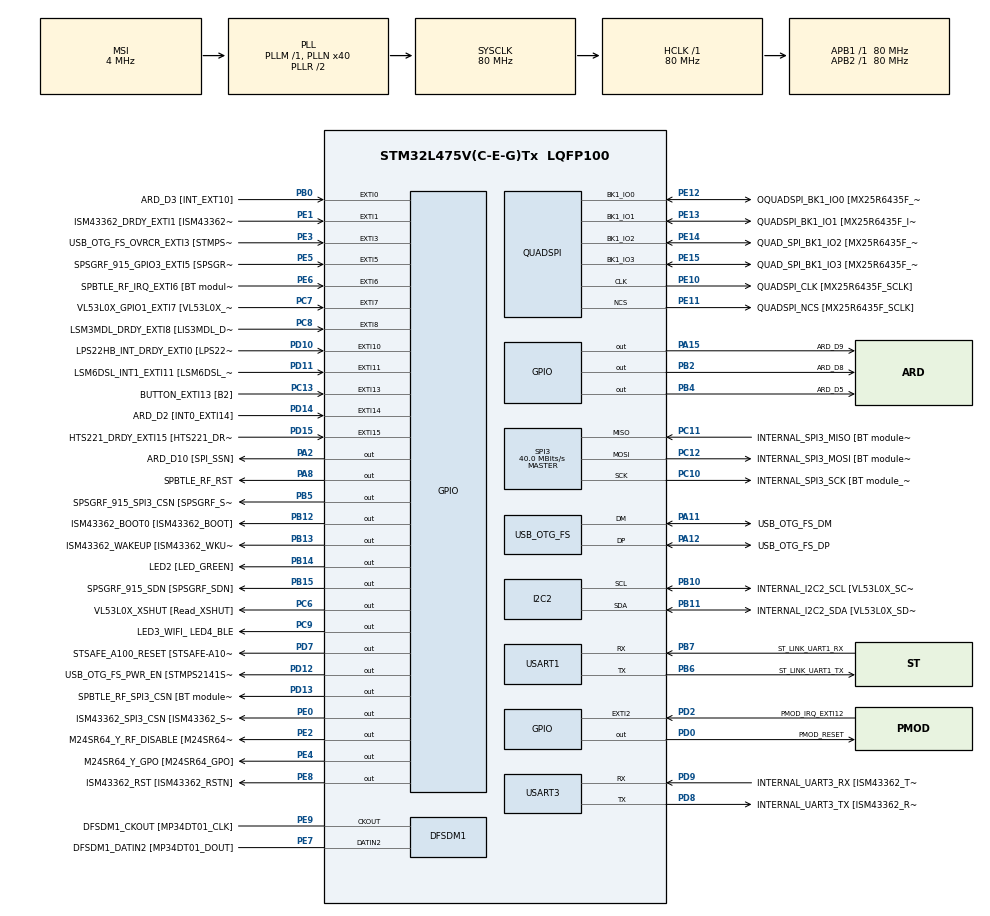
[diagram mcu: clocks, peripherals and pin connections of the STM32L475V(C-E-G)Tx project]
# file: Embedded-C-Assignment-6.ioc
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Mcu.Family=STM32L4
Mcu.Name=STM32L475V(C-E-G)Tx
Mcu.Package=LQFP100
NVIC.EXTI15_10_IRQn=true\:0\:0\:false\:false\:true\:true\:true\:true
NVIC.EXTI9_5_IRQn=true\:0\:0\:false\:false\:true\:true\:true\:true
NVIC.OTG_FS_IRQn=true\:0\:0\:false\:false\:true\:false\:true\:true
NVIC.PriorityGroup=NVIC_PRIORITYGROUP_4
PA0.GPIO_Label=ARD_D1 [UART4_TX]
PA0.Signal=UART4_TX
PA1.GPIO_Label=ARD_D0 [UART4_RX]
PA1.Signal=UART4_RX
PA10.GPIO_Label=USB_OTG_FS_ID
PA10.Signal=USB_OTG_FS_ID
PA11.GPIO_Label=USB_OTG_FS_DM
PA11.Mode=Device_Only
PA11.Signal=USB_OTG_FS_DM
PA12.GPIO_Label=USB_OTG_FS_DP
PA12.Mode=Device_Only
PA12.Signal=USB_OTG_FS_DP
PA13\ (JTMS-SWDIO).GPIO_Label=SYS_JTMS_SWDIO
PA13\ (JTMS-SWDIO).Mode=Serial_Wire
PA13\ (JTMS-SWDIO).Signal=SYS_JTMS-SWDIO
PA14\ (JTCK-SWCLK).GPIO_Label=SYS_JTCK_SWCLK
PA14\ (JTCK-SWCLK).Mode=Serial_Wire
PA14\ (JTCK-SWCLK).Signal=SYS_JTCK-SWCLK
PA15\ (JTDI).GPIO_Label=ARD_D9
PA15\ (JTDI).Signal=GPIO_Output
PA2.GPIO_Label=ARD_D10 [SPI_SSN]
PA2.Signal=GPIO_Output
PA3.GPIO_Label=ARD_D4
PA3.Signal=S_TIM2_CH4
PA4.GPIO_Label=ARD_D7
PA4.Signal=ADCx_IN9
PA5.GPIO_Label=ARD_D13 [SPI1_SCK]
PA5.Signal=SPI1_SCK
PA6.GPIO_Label=ARD_D12 [SPI1_MISO]
PA6.Signal=SPI1_MISO
PA7.GPIO_Label=ARD_D11 [SPI1_MOSI]
PA7.Signal=SPI1_MOSI
PA8.GPIO_Label=SPBTLE_RF_RST
PA8.Signal=GPIO_Output
PA9.GPIO_Label=USB_OTG_FS_VBUS [STMPS2141STR_OUT]
PA9.Signal=USB_OTG_FS_VBUS
PB0.GPIO_Label=ARD_D3 [INT_EXT10]
PB0.Signal=GPXTI0
PB1.GPIO_Label=ARD_D6 [ADC1_IN6]
PB1.Signal=ADCx_IN16
PB10.GPIO_Label=INTERNAL_I2C2_SCL [VL53L0X_SCL]
PB10.GPIO_Pu=GPIO_PULLUP
PB10.Mode=I2C
PB10.Signal=I2C2_SCL
PB11.GPIO_Label=INTERNAL_I2C2_SDA [VL53L0X_SDA]
PB11.GPIO_Pu=GPIO_PULLUP
PB11.Mode=I2C
PB11.Signal=I2C2_SDA
PB12.GPIO_Label=ISM43362_BOOT0 [ISM43362_BOOT]
PB12.Signal=GPIO_Output
PB13.GPIO_Label=ISM43362_WAKEUP [ISM43362_WKUP]
PB13.Signal=GPIO_Output
PB14.GPIO_Label=LED2 [LED_GREEN]
PB14.Signal=GPIO_Output
PB15.GPIO_Label=SPSGRF_915_SDN [SPSGRF_SDN]
PB15.Signal=GPIO_Output
PB2.GPIO_Label=ARD_D8
PB2.Signal=GPIO_Output
PB3\ (JTDO-TRACESWO).GPIO_Label=SYS_JTD0_SWO
PB3\ (JTDO-TRACESWO).Signal=SYS_JTDO-SWO
PB4\ (NJTRST).GPIO_Label=ARD_D5
PB4\ (NJTRST).Signal=GPIO_Output
PB5.GPIO_Label=SPSGRF_915_SPI3_CSN [SPSGRF_SPI_CS]
PB5.PinState=GPIO_PIN_SET
PB5.Signal=GPIO_Output
PB6.GPIO_Label=ST_LINK_UART1_TX
PB6.Mode=Asynchronous
PB6.Signal=USART1_TX
PB7.GPIO_Label=ST_LINK_UART1_RX
PB7.Mode=Asynchronous
PB7.Signal=USART1_RX
PB8.GPIO_Label=ARD_D15 [I2C1_SCL]
PB8.Signal=I2C1_SCL
PB9.GPIO_Label=ARD_D14 [I2C1_SDA]
PB9.Signal=I2C1_SDA
PC0.GPIO_Label=ARD_A5 [ADC]
PC0.Signal=ADCx_IN1
PC1.GPIO_Label=ARD_A4 [ADC]
PC1.Signal=ADCx_IN2
PC10.GPIO_Label=INTERNAL_SPI3_SCK [BT module_SPI_SCLK] [ISM43362_SCK]
PC10.Mode=Full_Duplex_Master
PC10.Signal=SPI3_SCK
PC11.GPIO_Label=INTERNAL_SPI3_MISO [BT module_SPI_MISO] [ISM43362_MISO]
PC11.Mode=Full_Duplex_Master
PC11.Signal=SPI3_MISO
PC12.GPIO_Label=INTERNAL_SPI3_MOSI [BT module_SPI_MOSI] [ISM43362_MOSI]
PC12.Mode=Full_Duplex_Master
PC12.Signal=SPI3_MOSI
PC13.GPIO_Label=BUTTON_EXTI13 [B2]
PC13.GPIO_ModeDefaultEXTI=GPIO_MODE_IT_FALLING
PC13.Signal=GPXTI13
PC14-OSC32_IN\ (PC14).Mode=LSE-External-Oscillator
PC14-OSC32_IN\ (PC14).Signal=RCC_OSC32_IN
PC15-OSC32_OUT\ (PC15).Mode=LSE-External-Oscillator
PC15-OSC32_OUT\ (PC15).Signal=RCC_OSC32_OUT
PC2.GPIO_Label=ARD_A3 [ADC]
PC2.Signal=ADCx_IN3
PC3.GPIO_Label=ARD_A2 [ADC]
PC3.Signal=ADCx_IN4
PC4.GPIO_Label=ARD_A1 [ADC]
PC4.Signal=ADCx_IN13
PC5.GPIO_Label=ARD_A0 [ADC]
PC5.Signal=ADCx_IN14
PC6.GPIO_Label=VL53L0X_XSHUT [Read_XSHUT]
PC6.Signal=GPIO_Output
PC7.GPIO_Label=VL53L0X_GPIO1_EXTI7 [VL53L0X_GPIO1]
PC7.Signal=GPXTI7
PC8.GPIO_Label=LSM3MDL_DRDY_EXTI8 [LIS3MDL_DRDY]
PC8.Signal=GPXTI8
PC9.GPIO_Label=LED3_WIFI_ LED4_BLE
PC9.Signal=GPIO_Output
PD0.GPIO_Label=PMOD_RESET
PD0.Signal=GPIO_Output
PD1.GPIO_Label=PMOD_SPI2_SCK
PD1.Signal=SPI2_SCK
PD10.GPIO_Label=LPS22HB_INT_DRDY_EXTI0 [LPS22HB_INT_DRDY] 
PD10.Signal=GPXTI10
PD11.GPIO_Label=LSM6DSL_INT1_EXTI11 [LSM6DSL_INT1]
PD11.Signal=GPXTI11
PD12.GPIO_Label=USB_OTG_FS_PWR_EN [STMPS2141STR_EN]
PD12.Signal=GPIO_Output
PD13.GPIO_Label=SPBTLE_RF_SPI3_CSN [BT module_SPI_CS]
PD13.PinState=GPIO_PIN_SET
PD13.Signal=GPIO_Output
PD14.GPIO_Label=ARD_D2 [INT0_EXTI14]
PD14.Signal=GPXTI14
PD15.GPIO_Label=HTS221_DRDY_EXTI15 [HTS221_DRDY]
PD15.Signal=GPXTI15
PD2.GPIO_Label=PMOD_IRQ_EXTI12
PD2.Signal=GPXTI2
PD3.GPIO_Label=PMOD_UART2_CTS
PD3.Signal=USART2_CTS
PD4.GPIO_Label=PMOD_UART2_RTS
PD4.Signal=USART2_RTS
PD5.GPIO_Label=PMOD_UART2_TX
PD5.Signal=USART2_TX
PD6.GPIO_Label=PMOD_UART2_RX
PD6.Signal=USART2_RX
PD7.GPIO_Label=STSAFE_A100_RESET [STSAFE-A100_RESET]
PD7.Signal=GPIO_Output
PD8.GPIO_Label=INTERNAL_UART3_TX [ISM43362_RX]
PD8.Mode=Asynchronous
PD8.Signal=USART3_TX
PD9.GPIO_Label=INTERNAL_UART3_RX [ISM43362_TX]
PD9.Mode=Asynchronous
PD9.Signal=USART3_RX
PE0.GPIO_Label=ISM43362_SPI3_CSN [ISM43362_SSN]
PE0.PinState=GPIO_PIN_SET
PE0.Signal=GPIO_Output
PE1.GPIO_Label=ISM43362_DRDY_EXTI1 [ISM43362_DATARDY]
PE1.Signal=GPXTI1
PE10.GPIO_Label=QUADSPI_CLK [MX25R6435F_SCLK]
PE10.Mode=Single Bank
PE10.Signal=QUADSPI_CLK
PE11.GPIO_Label=QUADSPI_NCS [MX25R6435F_SCLK]
PE11.Mode=Single Bank
PE11.Signal=QUADSPI_NCS
PE12.GPIO_Label=OQUADSPI_BK1_IO0 [MX25R6435F_IO0]
PE12.Mode=Single Bank
PE12.Signal=QUADSPI_BK1_IO0
PE13.GPIO_Label=QUADSPI_BK1_IO1 [MX25R6435F_IO1]
PE13.Mode=Single Bank
PE13.Signal=QUADSPI_BK1_IO1
PE14.GPIO_Label=QUAD_SPI_BK1_IO2 [MX25R6435F_IO2]
PE14.Mode=Single Bank
PE14.Signal=QUADSPI_BK1_IO2
PE15.GPIO_Label=QUAD_SPI_BK1_IO3 [MX25R6435F_IO3]
PE15.Mode=Single Bank
PE15.Signal=QUADSPI_BK1_IO3
PE2.GPIO_Label=M24SR64_Y_RF_DISABLE [M24SR64_RFDIS]
PE2.Signal=GPIO_Output
PE3.GPIO_Label=USB_OTG_FS_OVRCR_EXTI3 [STMPS2141STR_FAULT]
PE3.Signal=GPXTI3
PE4.GPIO_Label=M24SR64_Y_GPO [M24SR64_GPO]
PE4.Signal=GPIO_Output
PE5.GPIO_Label=SPSGRF_915_GPIO3_EXTI5 [SPSGRF_GPIO_3]
PE5.Signal=GPXTI5
PE6.GPIO_Label=SPBTLE_RF_IRQ_EXTI6 [BT module_SPI_IRQ]
PE6.Signal=GPXTI6
PE7.GPIO_Label=DFSDM1_DATIN2 [MP34DT01_DOUT]
PE7.Signal=S_DATAIN2DFSDM1
PE8.GPIO_Label=ISM43362_RST [ISM43362_RSTN]
PE8.Signal=GPIO_Output
PE9.GPIO_Label=DFSDM1_CKOUT [MP34DT01_CLK]
PE9.Signal=S_CKOUTDFSDM1
ProjectManager.HeapSize=0x200
ProjectManager.StackSize=0x400
ProjectManager.TargetToolchain=STM32CubeIDE
QUADSPI.ClockPrescaler=2
QUADSPI.FifoThreshold=4
QUADSPI.FlashSize=23
QUADSPI.SampleShifting=QSPI_SAMPLE_SHIFTING_HALFCYCLE
RCC.ADCFreq_Value=48000000
RCC.AHBFreq_Value=80000000
RCC.APB1Freq_Value=80000000
RCC.APB1TimFreq_Value=80000000
RCC.APB2Freq_Value=80000000
RCC.APB2TimFreq_Value=80000000
RCC.CortexFreq_Value=80000000
RCC.HCLKFreq_Value=80000000
RCC.HSE_VALUE=8000000
RCC.HSI_VALUE=16000000
RCC.MSI_VALUE=4000000
RCC.PLLN=40
RCC.PLLSAI1N=24
RCC.SYSCLKFreq_VALUE=80000000
RCC.SYSCLKSource=RCC_SYSCLKSOURCE_PLLCLK
RCC.USBFreq_Value=48000000
RCC.VCOOutputFreq_Value=160000000
SH.ADCx_IN1.0=ADC1_IN1
SH.ADCx_IN13.0=ADC1_IN13
SH.ADCx_IN14.0=ADC1_IN14
SH.ADCx_IN16.0=ADC1_IN16
SH.ADCx_IN2.0=ADC1_IN2
SH.ADCx_IN3.0=ADC1_IN3
SH.ADCx_IN4.0=ADC1_IN4
SH.ADCx_IN9.0=ADC1_IN9
SH.S_CKOUTDFSDM1.0=DFSDM1_CKOUT,CKOUT
SH.S_CKOUTDFSDM1.1=DFSDM1_CKOUT,PDM_SPI_Input_from_ch12_and_Internal_Clock
SH.S_DATAIN2DFSDM1.0=DFSDM1_DATIN2,PDM_SPI_Input_from_ch12_and_Internal_Clock
SH.S_TIM2_CH4.0=TIM2_CH4
SPI3.CalculateBaudRate=40.0 MBits/s
SPI3.Direction=SPI_DIRECTION_2LINES
SPI3.Mode=SPI_MODE_MASTER
SPI3.VirtualType=VM_MASTER
USART1.VirtualMode-Asynchronous=VM_ASYNC
USART3.VirtualMode-Asynchronous=VM_ASYNC
USB_DEVICE.CLASS_NAME_FS=CDC
USB_DEVICE.VirtualMode=Cdc
USB_DEVICE.VirtualModeFS=Cdc_FS
USB_OTG_FS.Sof_enable=ENABLE
USB_OTG_FS.VirtualMode=Device_Only
VP_USB_DEVICE_VS_USB_DEVICE_CDC_FS.Mode=CDC_FS
board=B-L475E-IOT01A2

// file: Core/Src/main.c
/* USER CODE BEGIN Header */
/**
  ******************************************************************************
  * @file           : main.c
  * @brief          : Main program body
  ******************************************************************************
  * @attention
  *
  * Copyright (c) 2023 STMicroelectronics.
  * All rights reserved.
  *
  * This software is licensed under terms that can be found in the LICENSE file
  * in the root directory of this software component.
  * If no LICENSE file comes with this software, it is provided AS-IS.
  *
  ******************************************************************************
  */
/* USER CODE END Header */
#include "main.h"
#include "usb_device.h"

/* USER CODE BEGIN Includes */
#include <stdio.h>
#include <string.h>
#include "usbd_cdc_if.h"
#include "usbd_cdc.h"
#include "usbd_core.h"
#include "usbd_desc.h"
/* USER CODE END Includes */

DFSDM_Channel_HandleTypeDef hdfsdm1_channel1;

I2C_HandleTypeDef hi2c2;

QSPI_HandleTypeDef hqspi;

SPI_HandleTypeDef hspi3;

UART_HandleTypeDef huart1;
UART_HandleTypeDef huart3;

void SystemClock_Config(void);
static void MX_GPIO_Init(void);
static void MX_DFSDM1_Init(void);
static void MX_I2C2_Init(void);
static void MX_QUADSPI_Init(void);
static void MX_SPI3_Init(void);
static void MX_USART1_UART_Init(void);
static void MX_USART3_UART_Init(void);

int main(void)
{

  /* MCU Configuration--------------------------------------------------------*/

  /* Reset of all peripherals, Initializes the Flash interface and the Systick. */
  HAL_Init();

  /* Configure the system clock */
  SystemClock_Config();

  /* Initialize all configured peripherals */
  MX_GPIO_Init();
  MX_DFSDM1_Init();
  MX_I2C2_Init();
  MX_QUADSPI_Init();
  MX_SPI3_Init();
  MX_USART1_UART_Init();
  MX_USART3_UART_Init();
  MX_USB_DEVICE_Init();
  /* USER CODE BEGIN 2 */
  int count = 0;
  /* USER CODE END 2 */

  /* Infinite loop */
  while (1)
  {

    /* USER CODE BEGIN 3 */
	count++;
	char buf[100];
	snprintf(buf, sizeof(buf), "count: %d\r\n", count);

	uint8_t status = CDC_Transmit_FS((uint8_t*)buf, strlen(buf));

	char buf2[100];
	snprintf(buf2, sizeof(buf2), "%i, CDC_Transmit_FS status: %u\r\n", count, status);
	HAL_UART_Transmit(&huart1, (uint8_t*)buf2, strlen(buf2), 1000);

	HAL_Delay(1000);

  }
  /* USER CODE END 3 */
}

void SystemClock_Config(void)
{
  RCC_OscInitTypeDef RCC_OscInitStruct = {0};
  RCC_ClkInitTypeDef RCC_ClkInitStruct = {0};

  /** Configure the main internal regulator output voltage
  */
  if (HAL_PWREx_ControlVoltageScaling(PWR_REGULATOR_VOLTAGE_SCALE1) != HAL_OK)
  {
    Error_Handler();
  }

  /** Configure LSE Drive Capability
  */
  HAL_PWR_EnableBkUpAccess();
  __HAL_RCC_LSEDRIVE_CONFIG(RCC_LSEDRIVE_LOW);

  /** Initializes the RCC Oscillators according to the specified parameters
  * in the RCC_OscInitTypeDef structure.
  */
  RCC_OscInitStruct.OscillatorType = RCC_OSCILLATORTYPE_LSE|RCC_OSCILLATORTYPE_MSI;
  RCC_OscInitStruct.LSEState = RCC_LSE_ON;
  RCC_OscInitStruct.MSIState = RCC_MSI_ON;
  RCC_OscInitStruct.MSICalibrationValue = 0;
  RCC_OscInitStruct.MSIClockRange = RCC_MSIRANGE_6;
  RCC_OscInitStruct.PLL.PLLState = RCC_PLL_ON;
  RCC_OscInitStruct.PLL.PLLSource = RCC_PLLSOURCE_MSI;
  RCC_OscInitStruct.PLL.PLLM = 1;
  RCC_OscInitStruct.PLL.PLLN = 40;
  RCC_OscInitStruct.PLL.PLLP = RCC_PLLP_DIV7;
  RCC_OscInitStruct.PLL.PLLQ = RCC_PLLQ_DIV2;
  RCC_OscInitStruct.PLL.PLLR = RCC_PLLR_DIV2;
  if (HAL_RCC_OscConfig(&RCC_OscInitStruct) != HAL_OK)
  {
    Error_Handler();
  }

  /** Initializes the CPU, AHB and APB buses clocks
  */
  RCC_ClkInitStruct.ClockType = RCC_CLOCKTYPE_HCLK|RCC_CLOCKTYPE_SYSCLK
                              |RCC_CLOCKTYPE_PCLK1|RCC_CLOCKTYPE_PCLK2;
  RCC_ClkInitStruct.SYSCLKSource = RCC_SYSCLKSOURCE_PLLCLK;
  RCC_ClkInitStruct.AHBCLKDivider = RCC_SYSCLK_DIV1;
  RCC_ClkInitStruct.APB1CLKDivider = RCC_HCLK_DIV1;
  RCC_ClkInitStruct.APB2CLKDivider = RCC_HCLK_DIV1;

  if (HAL_RCC_ClockConfig(&RCC_ClkInitStruct, FLASH_LATENCY_4) != HAL_OK)
  {
    Error_Handler();
  }

  /** Enable MSI Auto calibration
  */
  HAL_RCCEx_EnableMSIPLLMode();
}

static void MX_DFSDM1_Init(void)
{

  hdfsdm1_channel1.Instance = DFSDM1_Channel1;
  hdfsdm1_channel1.Init.OutputClock.Activation = ENABLE;
  hdfsdm1_channel1.Init.OutputClock.Selection = DFSDM_CHANNEL_OUTPUT_CLOCK_SYSTEM;
  hdfsdm1_channel1.Init.OutputClock.Divider = 2;
  hdfsdm1_channel1.Init.Input.Multiplexer = DFSDM_CHANNEL_EXTERNAL_INPUTS;
  hdfsdm1_channel1.Init.Input.DataPacking = DFSDM_CHANNEL_STANDARD_MODE;
  hdfsdm1_channel1.Init.Input.Pins = DFSDM_CHANNEL_FOLLOWING_CHANNEL_PINS;
  hdfsdm1_channel1.Init.SerialInterface.Type = DFSDM_CHANNEL_SPI_RISING;
  hdfsdm1_channel1.Init.SerialInterface.SpiClock = DFSDM_CHANNEL_SPI_CLOCK_INTERNAL;
  hdfsdm1_channel1.Init.Awd.FilterOrder = DFSDM_CHANNEL_FASTSINC_ORDER;
  hdfsdm1_channel1.Init.Awd.Oversampling = 1;
  hdfsdm1_channel1.Init.Offset = 0;
  hdfsdm1_channel1.Init.RightBitShift = 0x00;
  if (HAL_DFSDM_ChannelInit(&hdfsdm1_channel1) != HAL_OK)
  {
    Error_Handler();
  }

}

static void MX_I2C2_Init(void)
{

  hi2c2.Instance = I2C2;
  hi2c2.Init.Timing = 0x00000E14;
  hi2c2.Init.OwnAddress1 = 0;
  hi2c2.Init.AddressingMode = I2C_ADDRESSINGMODE_7BIT;
  hi2c2.Init.DualAddressMode = I2C_DUALADDRESS_DISABLE;
  hi2c2.Init.OwnAddress2 = 0;
  hi2c2.Init.OwnAddress2Masks = I2C_OA2_NOMASK;
  hi2c2.Init.GeneralCallMode = I2C_GENERALCALL_DISABLE;
  hi2c2.Init.NoStretchMode = I2C_NOSTRETCH_DISABLE;
  if (HAL_I2C_Init(&hi2c2) != HAL_OK)
  {
    Error_Handler();
  }

  /** Configure Analogue filter
  */
  if (HAL_I2CEx_ConfigAnalogFilter(&hi2c2, I2C_ANALOGFILTER_ENABLE) != HAL_OK)
  {
    Error_Handler();
  }

  /** Configure Digital filter
  */
  if (HAL_I2CEx_ConfigDigitalFilter(&hi2c2, 0) != HAL_OK)
  {
    Error_Handler();
  }

}

static void MX_QUADSPI_Init(void)
{

  /* QUADSPI parameter configuration*/
  hqspi.Instance = QUADSPI;
  hqspi.Init.ClockPrescaler = 2;
  hqspi.Init.FifoThreshold = 4;
  hqspi.Init.SampleShifting = QSPI_SAMPLE_SHIFTING_HALFCYCLE;
  hqspi.Init.FlashSize = 23;
  hqspi.Init.ChipSelectHighTime = QSPI_CS_HIGH_TIME_1_CYCLE;
  hqspi.Init.ClockMode = QSPI_CLOCK_MODE_0;
  if (HAL_QSPI_Init(&hqspi) != HAL_OK)
  {
    Error_Handler();
  }

}

static void MX_SPI3_Init(void)
{

  /* SPI3 parameter configuration*/
  hspi3.Instance = SPI3;
  hspi3.Init.Mode = SPI_MODE_MASTER;
  hspi3.Init.Direction = SPI_DIRECTION_2LINES;
  hspi3.Init.DataSize = SPI_DATASIZE_4BIT;
  hspi3.Init.CLKPolarity = SPI_POLARITY_LOW;
  hspi3.Init.CLKPhase = SPI_PHASE_1EDGE;
  hspi3.Init.NSS = SPI_NSS_SOFT;
  hspi3.Init.BaudRatePrescaler = SPI_BAUDRATEPRESCALER_2;
  hspi3.Init.FirstBit = SPI_FIRSTBIT_MSB;
  hspi3.Init.TIMode = SPI_TIMODE_DISABLE;
  hspi3.Init.CRCCalculation = SPI_CRCCALCULATION_DISABLE;
  hspi3.Init.CRCPolynomial = 7;
  hspi3.Init.CRCLength = SPI_CRC_LENGTH_DATASIZE;
  hspi3.Init.NSSPMode = SPI_NSS_PULSE_ENABLE;
  if (HAL_SPI_Init(&hspi3) != HAL_OK)
  {
    Error_Handler();
  }

}

static void MX_USART1_UART_Init(void)
{

  huart1.Instance = USART1;
  huart1.Init.BaudRate = 115200;
  huart1.Init.WordLength = UART_WORDLENGTH_8B;
  huart1.Init.StopBits = UART_STOPBITS_1;
  huart1.Init.Parity = UART_PARITY_NONE;
  huart1.Init.Mode = UART_MODE_TX_RX;
  huart1.Init.HwFlowCtl = UART_HWCONTROL_NONE;
  huart1.Init.OverSampling = UART_OVERSAMPLING_16;
  huart1.Init.OneBitSampling = UART_ONE_BIT_SAMPLE_DISABLE;
  huart1.AdvancedInit.AdvFeatureInit = UART_ADVFEATURE_NO_INIT;
  if (HAL_UART_Init(&huart1) != HAL_OK)
  {
    Error_Handler();
  }

}

static void MX_USART3_UART_Init(void)
{

  huart3.Instance = USART3;
  huart3.Init.BaudRate = 115200;
  huart3.Init.WordLength = UART_WORDLENGTH_8B;
  huart3.Init.StopBits = UART_STOPBITS_1;
  huart3.Init.Parity = UART_PARITY_NONE;
  huart3.Init.Mode = UART_MODE_TX_RX;
  huart3.Init.HwFlowCtl = UART_HWCONTROL_NONE;
  huart3.Init.OverSampling = UART_OVERSAMPLING_16;
  huart3.Init.OneBitSampling = UART_ONE_BIT_SAMPLE_DISABLE;
  huart3.AdvancedInit.AdvFeatureInit = UART_ADVFEATURE_NO_INIT;
  if (HAL_UART_Init(&huart3) != HAL_OK)
  {
    Error_Handler();
  }

}

static void MX_GPIO_Init(void)
{
  GPIO_InitTypeDef GPIO_InitStruct = {0};

  /* GPIO Ports Clock Enable */
  __HAL_RCC_GPIOE_CLK_ENABLE();
  __HAL_RCC_GPIOC_CLK_ENABLE();
  __HAL_RCC_GPIOA_CLK_ENABLE();
  __HAL_RCC_GPIOB_CLK_ENABLE();
  __HAL_RCC_GPIOD_CLK_ENABLE();

  /*Configure GPIO pin Output Level */
  HAL_GPIO_WritePin(GPIOE, M24SR64_Y_RF_DISABLE_Pin|M24SR64_Y_GPO_Pin|ISM43362_RST_Pin, GPIO_PIN_RESET);

  /*Configure GPIO pin Output Level */
  HAL_GPIO_WritePin(GPIOA, ARD_D10_Pin|SPBTLE_RF_RST_Pin|ARD_D9_Pin, GPIO_PIN_RESET);

  /*Configure GPIO pin Output Level */
  HAL_GPIO_WritePin(GPIOB, ARD_D8_Pin|ISM43362_BOOT0_Pin|ISM43362_WAKEUP_Pin|LED2_Pin
                          |SPSGRF_915_SDN_Pin|ARD_D5_Pin, GPIO_PIN_RESET);

  /*Configure GPIO pin Output Level */
  HAL_GPIO_WritePin(GPIOD, USB_OTG_FS_PWR_EN_Pin|PMOD_RESET_Pin|STSAFE_A100_RESET_Pin, GPIO_PIN_RESET);

  /*Configure GPIO pin Output Level */
  HAL_GPIO_WritePin(SPBTLE_RF_SPI3_CSN_GPIO_Port, SPBTLE_RF_SPI3_CSN_Pin, GPIO_PIN_SET);

  /*Configure GPIO pin Output Level */
  HAL_GPIO_WritePin(GPIOC, VL53L0X_XSHUT_Pin|LED3_WIFI__LED4_BLE_Pin, GPIO_PIN_RESET);

  /*Configure GPIO pin Output Level */
  HAL_GPIO_WritePin(SPSGRF_915_SPI3_CSN_GPIO_Port, SPSGRF_915_SPI3_CSN_Pin, GPIO_PIN_SET);

  /*Configure GPIO pin Output Level */
  HAL_GPIO_WritePin(ISM43362_SPI3_CSN_GPIO_Port, ISM43362_SPI3_CSN_Pin, GPIO_PIN_SET);

  /*Configure GPIO pins : M24SR64_Y_RF_DISABLE_Pin M24SR64_Y_GPO_Pin ISM43362_RST_Pin ISM43362_SPI3_CSN_Pin */
  GPIO_InitStruct.Pin = M24SR64_Y_RF_DISABLE_Pin|M24SR64_Y_GPO_Pin|ISM43362_RST_Pin|ISM43362_SPI3_CSN_Pin;
  GPIO_InitStruct.Mode = GPIO_MODE_OUTPUT_PP;
  GPIO_InitStruct.Pull = GPIO_NOPULL;
  GPIO_InitStruct.Speed = GPIO_SPEED_FREQ_LOW;
  HAL_GPIO_Init(GPIOE, &GPIO_InitStruct);

  /*Configure GPIO pins : USB_OTG_FS_OVRCR_EXTI3_Pin SPSGRF_915_GPIO3_EXTI5_Pin SPBTLE_RF_IRQ_EXTI6_Pin ISM43362_DRDY_EXTI1_Pin */
  GPIO_InitStruct.Pin = USB_OTG_FS_OVRCR_EXTI3_Pin|SPSGRF_915_GPIO3_EXTI5_Pin|SPBTLE_RF_IRQ_EXTI6_Pin|ISM43362_DRDY_EXTI1_Pin;
  GPIO_InitStruct.Mode = GPIO_MODE_IT_RISING;
  GPIO_InitStruct.Pull = GPIO_NOPULL;
  HAL_GPIO_Init(GPIOE, &GPIO_InitStruct);

  /*Configure GPIO pin : BUTTON_EXTI13_Pin */
  GPIO_InitStruct.Pin = BUTTON_EXTI13_Pin;
  GPIO_InitStruct.Mode = GPIO_MODE_IT_FALLING;
  GPIO_InitStruct.Pull = GPIO_NOPULL;
  HAL_GPIO_Init(BUTTON_EXTI13_GPIO_Port, &GPIO_InitStruct);

  /*Configure GPIO pins : ARD_A5_Pin ARD_A4_Pin ARD_A3_Pin ARD_A2_Pin
                           ARD_A1_Pin ARD_A0_Pin */
  GPIO_InitStruct.Pin = ARD_A5_Pin|ARD_A4_Pin|ARD_A3_Pin|ARD_A2_Pin
                          |ARD_A1_Pin|ARD_A0_Pin;
  GPIO_InitStruct.Mode = GPIO_MODE_ANALOG_ADC_CONTROL;
  GPIO_InitStruct.Pull = GPIO_NOPULL;
  HAL_GPIO_Init(GPIOC, &GPIO_InitStruct);

  /*Configure GPIO pins : ARD_D1_Pin ARD_D0_Pin */
  GPIO_InitStruct.Pin = ARD_D1_Pin|ARD_D0_Pin;
  GPIO_InitStruct.Mode = GPIO_MODE_AF_PP;
  GPIO_InitStruct.Pull = GPIO_NOPULL;
  GPIO_InitStruct.Speed = GPIO_SPEED_FREQ_VERY_HIGH;
  GPIO_InitStruct.Alternate = GPIO_AF8_UART4;
  HAL_GPIO_Init(GPIOA, &GPIO_InitStruct);

  /*Configure GPIO pins : ARD_D10_Pin SPBTLE_RF_RST_Pin ARD_D9_Pin */
  GPIO_InitStruct.Pin = ARD_D10_Pin|SPBTLE_RF_RST_Pin|ARD_D9_Pin;
  GPIO_InitStruct.Mode = GPIO_MODE_OUTPUT_PP;
  GPIO_InitStruct.Pull = GPIO_NOPULL;
  GPIO_InitStruct.Speed = GPIO_SPEED_FREQ_LOW;
  HAL_GPIO_Init(GPIOA, &GPIO_InitStruct);

  /*Configure GPIO pin : ARD_D4_Pin */
  GPIO_InitStruct.Pin = ARD_D4_Pin;
  GPIO_InitStruct.Mode = GPIO_MODE_AF_PP;
  GPIO_InitStruct.Pull = GPIO_NOPULL;
  GPIO_InitStruct.Speed = GPIO_SPEED_FREQ_LOW;
  GPIO_InitStruct.Alternate = GPIO_AF1_TIM2;
  HAL_GPIO_Init(ARD_D4_GPIO_Port, &GPIO_InitStruct);

  /*Configure GPIO pin : ARD_D7_Pin */
  GPIO_InitStruct.Pin = ARD_D7_Pin;
  GPIO_InitStruct.Mode = GPIO_MODE_ANALOG_ADC_CONTROL;
  GPIO_InitStruct.Pull = GPIO_NOPULL;
  HAL_GPIO_Init(ARD_D7_GPIO_Port, &GPIO_InitStruct);

  /*Configure GPIO pins : ARD_D13_Pin ARD_D12_Pin ARD_D11_Pin */
  GPIO_InitStruct.Pin = ARD_D13_Pin|ARD_D12_Pin|ARD_D11_Pin;
  GPIO_InitStruct.Mode = GPIO_MODE_AF_PP;
  GPIO_InitStruct.Pull = GPIO_NOPULL;
  GPIO_InitStruct.Speed = GPIO_SPEED_FREQ_VERY_HIGH;
  GPIO_InitStruct.Alternate = GPIO_AF5_SPI1;
  HAL_GPIO_Init(GPIOA, &GPIO_InitStruct);

  /*Configure GPIO pin : ARD_D3_Pin */
  GPIO_InitStruct.Pin = ARD_D3_Pin;
  GPIO_InitStruct.Mode = GPIO_MODE_IT_RISING;
  GPIO_InitStruct.Pull = GPIO_NOPULL;
  HAL_GPIO_Init(ARD_D3_GPIO_Port, &GPIO_InitStruct);

  /*Configure GPIO pin : ARD_D6_Pin */
  GPIO_InitStruct.Pin = ARD_D6_Pin;
  GPIO_InitStruct.Mode = GPIO_MODE_ANALOG_ADC_CONTROL;
  GPIO_InitStruct.Pull = GPIO_NOPULL;
  HAL_GPIO_Init(ARD_D6_GPIO_Port, &GPIO_InitStruct);

  /*Configure GPIO pins : ARD_D8_Pin ISM43362_BOOT0_Pin ISM43362_WAKEUP_Pin LED2_Pin
                           SPSGRF_915_SDN_Pin ARD_D5_Pin SPSGRF_915_SPI3_CSN_Pin */
  GPIO_InitStruct.Pin = ARD_D8_Pin|ISM43362_BOOT0_Pin|ISM43362_WAKEUP_Pin|LED2_Pin
                          |SPSGRF_915_SDN_Pin|ARD_D5_Pin|SPSGRF_915_SPI3_CSN_Pin;
  GPIO_InitStruct.Mode = GPIO_MODE_OUTPUT_PP;
  GPIO_InitStruct.Pull = GPIO_NOPULL;
  GPIO_InitStruct.Speed = GPIO_SPEED_FREQ_LOW;
  HAL_GPIO_Init(GPIOB, &GPIO_InitStruct);

  /*Configure GPIO pins : LPS22HB_INT_DRDY_EXTI0_Pin LSM6DSL_INT1_EXTI11_Pin ARD_D2_Pin HTS221_DRDY_EXTI15_Pin
                           PMOD_IRQ_EXTI12_Pin */
  GPIO_InitStruct.Pin = LPS22HB_INT_DRDY_EXTI0_Pin|LSM6DSL_INT1_EXTI11_Pin|ARD_D2_Pin|HTS221_DRDY_EXTI15_Pin
                          |PMOD_IRQ_EXTI12_Pin;
  GPIO_InitStruct.Mode = GPIO_MODE_IT_RISING;
  GPIO_InitStruct.Pull = GPIO_NOPULL;
  HAL_GPIO_Init(GPIOD, &GPIO_InitStruct);

  /*Configure GPIO pins : USB_OTG_FS_PWR_EN_Pin SPBTLE_RF_SPI3_CSN_Pin PMOD_RESET_Pin STSAFE_A100_RESET_Pin */
  GPIO_InitStruct.Pin = USB_OTG_FS_PWR_EN_Pin|SPBTLE_RF_SPI3_CSN_Pin|PMOD_RESET_Pin|STSAFE_A100_RESET_Pin;
  GPIO_InitStruct.Mode = GPIO_MODE_OUTPUT_PP;
  GPIO_InitStruct.Pull = GPIO_NOPULL;
  GPIO_InitStruct.Speed = GPIO_SPEED_FREQ_LOW;
  HAL_GPIO_Init(GPIOD, &GPIO_InitStruct);

  /*Configure GPIO pins : VL53L0X_XSHUT_Pin LED3_WIFI__LED4_BLE_Pin */
  GPIO_InitStruct.Pin = VL53L0X_XSHUT_Pin|LED3_WIFI__LED4_BLE_Pin;
  GPIO_InitStruct.Mode = GPIO_MODE_OUTPUT_PP;
  GPIO_InitStruct.Pull = GPIO_NOPULL;
  GPIO_InitStruct.Speed = GPIO_SPEED_FREQ_LOW;
  HAL_GPIO_Init(GPIOC, &GPIO_InitStruct);

  /*Configure GPIO pins : VL53L0X_GPIO1_EXTI7_Pin LSM3MDL_DRDY_EXTI8_Pin */
  GPIO_InitStruct.Pin = VL53L0X_GPIO1_EXTI7_Pin|LSM3MDL_DRDY_EXTI8_Pin;
  GPIO_InitStruct.Mode = GPIO_MODE_IT_RISING;
  GPIO_InitStruct.Pull = GPIO_NOPULL;
  HAL_GPIO_Init(GPIOC, &GPIO_InitStruct);

  /*Configure GPIO pin : PMOD_SPI2_SCK_Pin */
  GPIO_InitStruct.Pin = PMOD_SPI2_SCK_Pin;
  GPIO_InitStruct.Mode = GPIO_MODE_AF_PP;
  GPIO_InitStruct.Pull = GPIO_NOPULL;
  GPIO_InitStruct.Speed = GPIO_SPEED_FREQ_VERY_HIGH;
  GPIO_InitStruct.Alternate = GPIO_AF5_SPI2;
  HAL_GPIO_Init(PMOD_SPI2_SCK_GPIO_Port, &GPIO_InitStruct);

  /*Configure GPIO pins : PMOD_UART2_CTS_Pin PMOD_UART2_RTS_Pin PMOD_UART2_TX_Pin PMOD_UART2_RX_Pin */
  GPIO_InitStruct.Pin = PMOD_UART2_CTS_Pin|PMOD_UART2_RTS_Pin|PMOD_UART2_TX_Pin|PMOD_UART2_RX_Pin;
  GPIO_InitStruct.Mode = GPIO_MODE_AF_PP;
  GPIO_InitStruct.Pull = GPIO_NOPULL;
  GPIO_InitStruct.Speed = GPIO_SPEED_FREQ_VERY_HIGH;
  GPIO_InitStruct.Alternate = GPIO_AF7_USART2;
  HAL_GPIO_Init(GPIOD, &GPIO_InitStruct);

  /*Configure GPIO pins : ARD_D15_Pin ARD_D14_Pin */
  GPIO_InitStruct.Pin = ARD_D15_Pin|ARD_D14_Pin;
  GPIO_InitStruct.Mode = GPIO_MODE_AF_OD;
  GPIO_InitStruct.Pull = GPIO_NOPULL;
  GPIO_InitStruct.Speed = GPIO_SPEED_FREQ_VERY_HIGH;
  GPIO_InitStruct.Alternate = GPIO_AF4_I2C1;
  HAL_GPIO_Init(GPIOB, &GPIO_InitStruct);

  /* EXTI interrupt init*/
  HAL_NVIC_SetPriority(EXTI9_5_IRQn, 0, 0);
  HAL_NVIC_EnableIRQ(EXTI9_5_IRQn);

  HAL_NVIC_SetPriority(EXTI15_10_IRQn, 0, 0);
  HAL_NVIC_EnableIRQ(EXTI15_10_IRQn);

}

void Error_Handler(void)
{
  __disable_irq();
  while (1)
  {
  }
}
